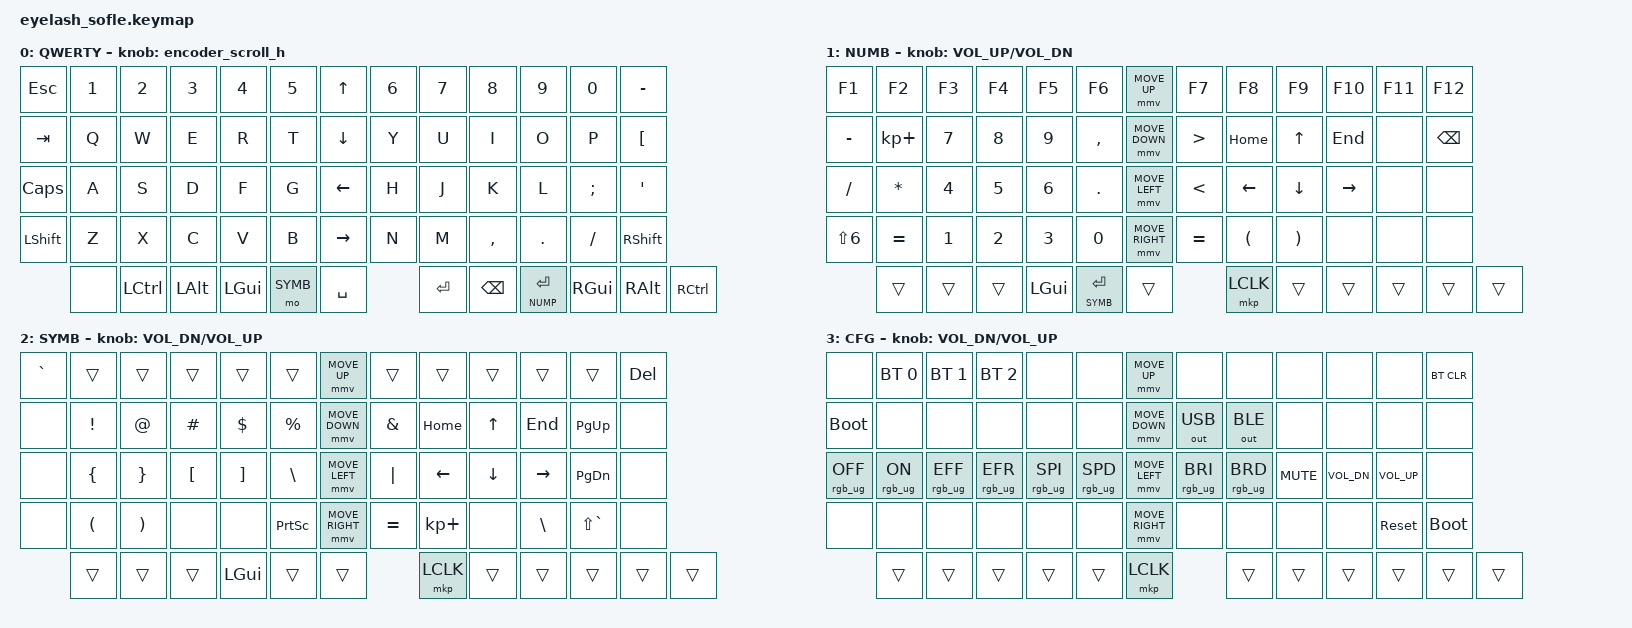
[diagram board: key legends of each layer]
#include <behaviors.dtsi>
#include <dt-bindings/zmk/bt.h>
#include <dt-bindings/zmk/keys.h>
#include <dt-bindings/zmk/outputs.h>
#include <dt-bindings/zmk/pointing.h>
#include <dt-bindings/zmk/rgb.h>

#define ZMK_POINTING_DEFAULT_SCRL_VAL 100

#define BASE 0
#define NUMP 1
#define SYMB 2
#define TUNE 3

/ {
    behaviors {
        lt_qt: lt_qt {
            compatible = "zmk,behavior-hold-tap";
            #binding-cells = <2>;
            flavor = "balanced";
            tapping-term-ms = <200>;
            quick-tap-ms = <150>;
            bindings = <&mo>, <&kp>;
        };
        
        // Scroll horizontal nativo (rueda del ratón)
        encoder_scroll_h: encoder_scroll_h {
            compatible = "zmk,behavior-sensor-rotate";
            #sensor-binding-cells = <0>;
            bindings = <&none>, <&none>;
        };
    };

    combos {
        compatible = "zmk,combos";
        soff { 
            bindings = <&soft_off>; 
            key-positions = <13 25 37>; 
        };
    };

    conditional_layers {
        compatible = "zmk,conditional-layers";
        tri { 
            if-layers = <NUMP SYMB>; 
            then-layer = <TUNE>; 
        };
    };

    keymap {
        compatible = "zmk,keymap";

        layer0 {
            display-name = "QWERTY";
            bindings = <
//  izquierda                                     centro                derecha
    &kp ESC    &kp N1     &kp N2     &kp N3     &kp N4     &kp N5       &kp UP_ARROW      &kp N6    &kp N7     &kp N8     &kp N9     &kp N0    &kp MINUS
    &kp TAB    &kp Q      &kp W      &kp E      &kp R      &kp T        &kp DOWN_ARROW    &kp Y     &kp U      &kp I      &kp O      &kp P     &kp LBKT
    &kp CLCK   &kp A      &kp S      &kp D      &kp F      &kp G        &kp LEFT_ARROW    &kp H     &kp J      &kp K      &kp L      &kp SEMI  &kp SQT
    &kp LSHFT  &kp Z      &kp X      &kp C      &kp V      &kp B        &kp RIGHT_ARROW   &kp N     &kp M      &kp COMMA  &kp DOT    &kp FSLH  &kp RSHFT
//  pulgares
                    &none       &kp LCTRL  &kp LALT  &kp LGUI  &mo SYMB       &kp SPACE  &kp ENTER         &kp BSPC  &lt_qt NUMP RET &kp RGUI &kp RALT &kp RCTRL
            >;
            sensor-bindings = <&encoder_scroll_h>;
        };

        layer_1 {
            display-name = "NUMB";
            bindings = <
    &kp F1     &kp F2     &kp F3     &kp F4     &kp F5     &kp F6       &mmv MOVE_UP      &kp F7    &kp F8    &kp F9    &kp F10   &kp F11   &kp F12
    &kp MINUS  &kp KP_PLUS &kp N7    &kp N8     &kp N9     &kp COMMA    &mmv MOVE_DOWN    &kp GT    &kp HOME  &kp UP    &kp END   &none     &kp BSPC
    &kp FSLH   &kp ASTRK   &kp N4    &kp N5     &kp N6     &kp DOT      &mmv MOVE_LEFT    &kp LT    &kp LEFT  &kp DOWN  &kp RIGHT &none     &none
    &kp LS(N6) &kp EQUAL   &kp N1    &kp N2     &kp N3     &kp N0       &mmv MOVE_RIGHT   &kp EQUAL &kp LPAR  &kp RPAR  &none     &none     &none
                    &trans     &trans     &trans    &kp LGUI  &lt_qt SYMB RET    &trans   &mkp LCLK         &trans    &trans    &trans    &trans    &trans
            >;
            sensor-bindings = <&inc_dec_kp C_VOLUME_UP C_VOL_DN>;
        };

        layer_2 {
            display-name = "SYMB";
            bindings = <
    &kp GRAVE  &trans     &trans     &trans     &trans     &trans       &mmv MOVE_UP      &trans    &trans    &trans    &trans    &trans    &kp DEL
    &none      &kp EXCL   &kp AT     &kp HASH   &kp DLLR   &kp PRCNT    &mmv MOVE_DOWN    &kp AMPS  &kp HOME  &kp UP    &kp END   &kp PG_UP &none
    &none      &kp LBRC   &kp RBRC   &kp LBKT   &kp RBKT   &kp BSLH     &mmv MOVE_LEFT    &kp PIPE  &kp LEFT  &kp DOWN  &kp RIGHT &kp PG_DN &none
    &none      &kp LPAR   &kp RPAR   &none      &none      &kp PSCRN    &mmv MOVE_RIGHT   &kp EQUAL &kp KP_PLUS &none     &kp BSLH  &kp LS(GRAVE) &none
                    &trans     &trans     &trans     &kp LGUI  &trans     &trans   &mkp LCLK         &trans    &trans    &trans    &trans    &trans
            >;
            sensor-bindings = <&inc_dec_kp C_VOL_DN C_VOL_UP>;
        };

        layer_3 {
            display-name = "CFG";
            bindings = <
    &none      &bt BT_SEL 0 &bt BT_SEL 1 &bt BT_SEL 2 &none      &none           &mmv MOVE_UP      &none             &none             &none      &none      &none      &bt BT_CLR
    &bootloader &none       &none        &none        &none      &none           &mmv MOVE_DOWN    &out OUT_USB      &out OUT_BLE      &none      &none      &none      &none
    &rgb_ug RGB_OFF &rgb_ug RGB_ON &rgb_ug RGB_EFF &rgb_ug RGB_EFR &rgb_ug RGB_SPI &rgb_ug RGB_SPD &mmv MOVE_LEFT &rgb_ug RGB_BRI &rgb_ug RGB_BRD &kp C_MUTE &kp C_VOL_DN &kp C_VOL_UP &none
    &none      &none       &none        &none        &none      &none           &mmv MOVE_RIGHT   &none             &none             &none      &none      &sys_reset &bootloader
                    &trans     &trans       &trans       &trans     &trans     &mkp LCLK      &trans            &trans            &trans      &trans     &trans     &trans
            >;
            sensor-bindings = <&inc_dec_kp C_VOL_DN C_VOL_UP>;
        };
    };
};
